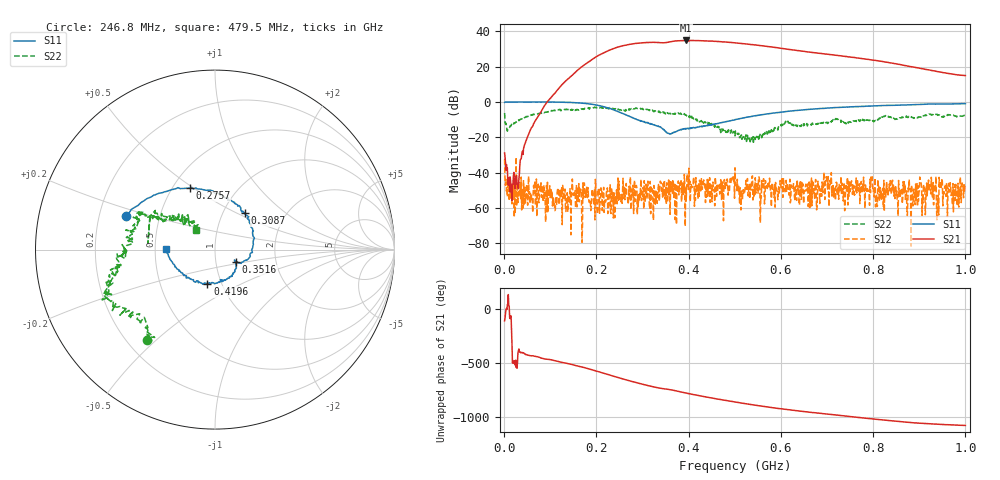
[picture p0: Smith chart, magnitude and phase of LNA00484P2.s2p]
! Created with skrf 1.9.0 (http://scikit-rf.org).
# Hz S RI R 50.0
!freq ReS11 ImS11 ReS21 ImS21 ReS12 ImS12 ReS22 ImS22
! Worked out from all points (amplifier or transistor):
!   1001 points, 1 MHz to 1 GHz, reference 50 ohm
!   highest |S21| = 34.9 dB at 394.6 MHz (marker M1)
!   |S21| within 3 dB of that: 257.3 MHz to 558.6 MHz (301.3 MHz wide, 73.9 % of centre)
!   unconditionally stable (mu >= 1): 209.9 MHz to 246.3 MHz; 296.8 MHz to 390.5 MHz; 390.7 MHz to end of sweep (the widest 3 of 39)
!   at 166.8 MHz: K = 1.77, MAG = 29.5 dB, |S12| = -49.6 dB
!   at 500.5 MHz: K = 1.01, MAG = 34.9 dB, |S12| = -37.3 dB
!   at 1 GHz: K = 2.69, MAG = 23.6 dB, |S12| = -46.6 dB
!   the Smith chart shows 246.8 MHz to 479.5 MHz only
!   S11 on the Smith chart (normalised r, x): 246.8 MHz: 0.32, +0.17; 275.7 MHz: 0.61, +0.48; 308.7 MHz: 1.26, +0.55; 351.6 MHz: 1.25, -0.18; 419.6 MHz: 0.86, -0.34; 479.5 MHz: 0.57, +0.00
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1000000  0.9781 -0.00404  -0.0128 -0.0336  -0.00714 0.0229  0.3663 0.3232
1.08892e8  0.525 -0.8474  -0.8308 -1.521  0.000857 0.00097  0.4188 -0.3893
1.67833e8  -0.2282 -0.9014  -9.881 -0.4588  0.00134 -0.000345  0.0221 -0.6319
2.11789e8  -0.6727 -0.3518  -15.02 18.13  -0.000746 -0.00324  -0.2106 -0.6409
2.46754e8  -0.4958 0.1887  3.356 36.03  0.00333 -0.00619  -0.3791 -0.503
2.75725e8  -0.1414 0.3424  28.79 33.21  0.000397 0.000881  -0.5701 -0.3142
3.08692e8  0.1657 0.2029  47.37 11.04  -0.00194 0.00185  -0.5918 -0.174
3.34666e8  0.2085 -0.0155  47.52 -9.98  -0.00332 0.00317  -0.5144 -0.0332
3.51649e8  0.1178 -0.0707  44.74 -18.94  0.000658 0.00106  -0.4929 0.0446
3.7063e8  0.1175 -0.0752  42.81 -32.46  -0.000355 0.000302  -0.42 0.1611
3.94606e8  0.0717 -0.1588  28.34 -47.85  0.000962 0.00122  -0.3844 0.178
4.19581e8  -0.0419 -0.1915  8.92 -54.41  -0.00127 0.00243  -0.2561 0.1866
4.46554e8  -0.1715 -0.1415  -11.4 -52.27  0.00143 0.000114  -0.1579 0.1776
4.79521e8  -0.2733 0.00119  -30.38 -40.18  0.0027 0.00189  -0.1073 0.1092
5.005e8  -0.2919 0.1287  -37.81 -29.15  0.0135 -0.00213  -0.0883 0.0646
5.39461e8  -0.2321 0.3256  -41.34 -8.378  0.000454 0.0016  -0.0957 -0.0397
5.83417e8  -0.0544 0.4806  -34.5 9.747  0.000294 -0.00336  -0.1571 -0.074
6.25375e8  0.137 0.5464  -23.54 18.54  -0.00167 -0.00294  -0.208 -0.1045
6.67333e8  0.3327 0.5315  -13.1 21.71  5e-06 -0.00116  -0.2395 -0.0173
7.55245e8  0.6375 0.3667  2.839 18.26  -0.000319 -0.00239  -0.2734 0.0311
8.34166e8  0.7878 0.1439  9.032 9.506  -0.00197 -0.00253  -0.3735 0.0189
1e9  0.8185 -0.3834  5.605 0.0777  -0.00404 0.00239  -0.2439 0.317
